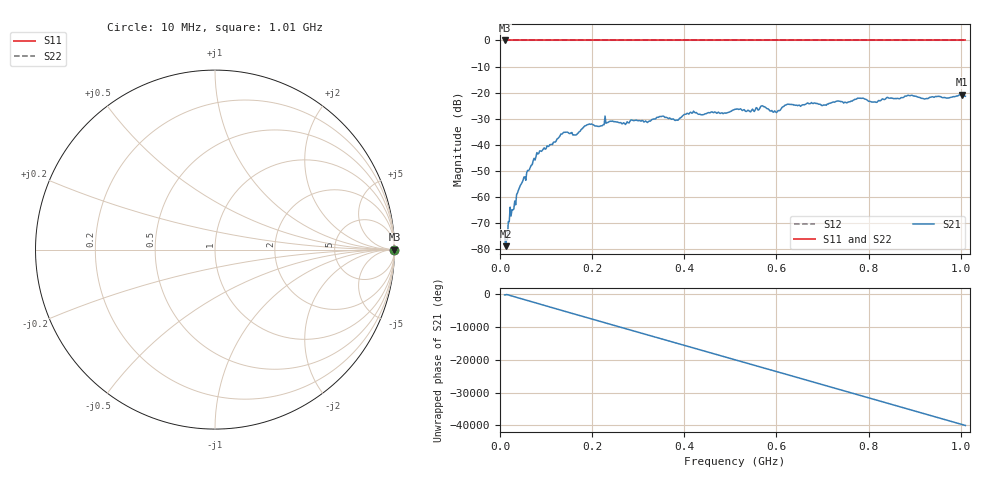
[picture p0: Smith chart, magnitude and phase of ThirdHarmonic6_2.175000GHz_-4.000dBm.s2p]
! 8/17/2025 1:56:42 AM
! C:\ANRITSUVNA\TEMP\TEMP.S2P
! CHANNEL.1
! TR.MEASUREMENT
! RAW.DATA
! RF.CORRECTION.OFF
! AVERAGING.OFF
! IF.BANDWIDTH: 5KHZ
! SWEEPTYPE:  FREQ.SWEEP(Linear)
! Reference Plane Port Info
! PORT:  PORT1  PORT2
! DISTANCE:  0  m  0  m
! TIME:  0  s  0  s
! PHASE.OFFSET:  0  deg.  0  deg.
! LOSS:  0  dB  0  dB
! REF.LOSS:  0  dB  0  dB
! REF.FREQ:  0  Hz  0  Hz
! Power Info
! POWER:  -20  dBm  -20  dBm
! EFF.POWER:  -20  dBm  -20  dBm
! SOURCE.ATTEN:  0  dB  0  dB
! TEST.ATTEN:  0  dB  0  dB
# GHZ S RI R 50.0
! FREQ.GHZ  S11RE  S11IM  S21RE  S21IM  S12RE  S12IM  S22RE  S22IM
!; PortSelection: Port_12
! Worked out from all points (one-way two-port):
!   501 points, 10 MHz to 1.01 GHz, reference 50 ohm
!   highest |S21| = -20.72 dB at 1.002 GHz (marker M1); lowest = -78.8 dB at 12 MHz (marker M2)
!   lowest |S11| = 0.0 dB at 10 MHz (marker M3)
!   |S11| at or under -10 dB: nowhere
!   |S22| runs from 0.0 to 0.0 dB; largest |S21 - S12| = 1.1
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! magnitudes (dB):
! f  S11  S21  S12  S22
! 10 MHz  0.0  -73.8  0.0  0.0
! 12 MHz  0.0  -78.8  0.0  0.0
! 16 MHz  0.0  -76.3  0.0  0.0
! 22 MHz  0.0  -63.9  0.0  0.0
! 40 MHz  0.0  -57.4  0.0  0.0
! 82 MHz  0.0  -43.4  0.0  0.0
! 136 MHz  0.0  -35.6  0.0  0.0
! 162 MHz  0.0  -36.2  0.0  0.0
! 178 MHz  0.0  -33.9  0.0  0.0
! 232 MHz  0.0  -31.5  0.0  0.0
! 322 MHz  0.0  -31.1  0.0  0.0
! 344 MHz  0.0  -29.4  0.0  0.0
! 382 MHz  0.0  -30.6  0.0  0.0
! 416 MHz  0.0  -27.9  0.0  0.0
! 510 MHz  0.0  -26.4  0.0  0.0
! 570 MHz  0.0  -25.1  0.0  0.0
! 598 MHz  0.0  -27.4  0.0  0.0
! 622 MHz  0.0  -24.6  0.0  0.0
! 678 MHz  0.0  -24.1  0.0  0.0
! 844 MHz  0.0  -22.1  0.0  0.0
! 1.002 GHz  0.0  -20.7  0.0  0.0
! 1.01 GHz  0.0  -21.4  0.0  0.0
